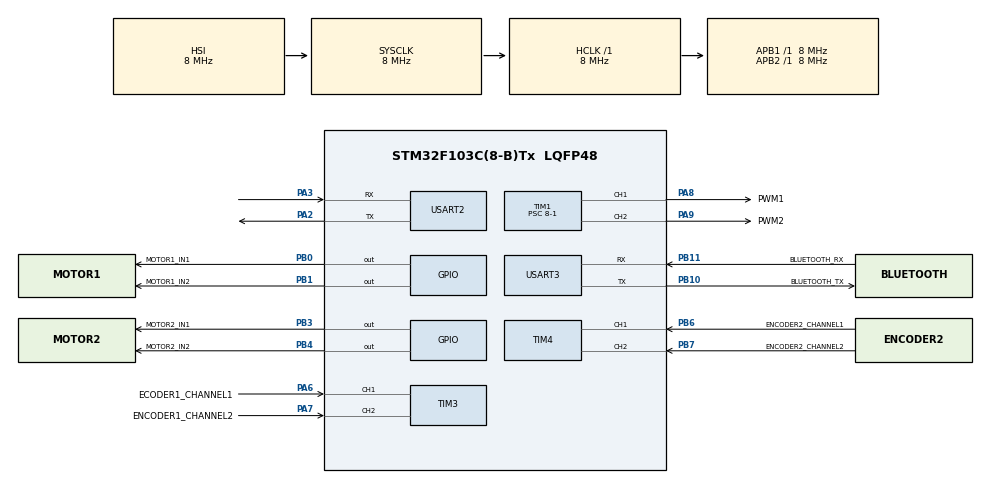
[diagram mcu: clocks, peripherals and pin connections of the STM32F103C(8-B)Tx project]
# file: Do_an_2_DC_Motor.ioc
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Mcu.Family=STM32F1
Mcu.Name=STM32F103C(8-B)Tx
Mcu.Package=LQFP48
NVIC.PriorityGroup=NVIC_PRIORITYGROUP_4
NVIC.TIM2_IRQn=true\:0\:0\:false\:false\:true\:true\:true\:true
NVIC.USART2_IRQn=true\:0\:0\:false\:false\:true\:true\:true\:true
NVIC.USART3_IRQn=true\:0\:0\:false\:false\:true\:true\:true\:true
PA13.Mode=Serial_Wire
PA13.Signal=SYS_JTMS-SWDIO
PA14.Mode=Serial_Wire
PA14.Signal=SYS_JTCK-SWCLK
PA2.Mode=Asynchronous
PA2.Signal=USART2_TX
PA3.Mode=Asynchronous
PA3.Signal=USART2_RX
PA6.GPIO_Label=ECODER1_CHANNEL1
PA6.Signal=S_TIM3_CH1
PA7.GPIO_Label=ENCODER1_CHANNEL2
PA7.Signal=S_TIM3_CH2
PA8.GPIO_Label=PWM1
PA8.Signal=S_TIM1_CH1
PA9.GPIO_Label=PWM2
PA9.Signal=S_TIM1_CH2
PB0.GPIO_Label=MOTOR1_IN1
PB0.Signal=GPIO_Output
PB1.GPIO_Label=MOTOR1_IN2
PB1.Signal=GPIO_Output
PB10.GPIO_Label=BLUETOOTH_TX
PB10.Mode=Asynchronous
PB10.Signal=USART3_TX
PB11.GPIO_Label=BLUETOOTH_RX
PB11.Mode=Asynchronous
PB11.Signal=USART3_RX
PB3.GPIO_Label=MOTOR2_IN1
PB3.Signal=GPIO_Output
PB4.GPIO_Label=MOTOR2_IN2
PB4.Signal=GPIO_Output
PB6.GPIO_Label=ENCODER2_CHANNEL1
PB6.Signal=S_TIM4_CH1
PB7.GPIO_Label=ENCODER2_CHANNEL2
PB7.Signal=S_TIM4_CH2
ProjectManager.HeapSize=0x200
ProjectManager.StackSize=0x400
ProjectManager.TargetToolchain=STM32CubeIDE
RCC.AHBFreq_Value=8000000
RCC.APB1Freq_Value=8000000
RCC.APB1TimFreq_Value=8000000
RCC.APB2Freq_Value=8000000
RCC.APB2TimFreq_Value=8000000
RCC.HCLKFreq_Value=8000000
RCC.SYSCLKFreq_VALUE=8000000
RCC.USBFreq_Value=8000000
SH.S_TIM1_CH1.0=TIM1_CH1,PWM Generation1 CH1
SH.S_TIM1_CH2.0=TIM1_CH2,PWM Generation2 CH2
SH.S_TIM3_CH1.0=TIM3_CH1,Encoder_Interface
SH.S_TIM3_CH2.0=TIM3_CH2,Encoder_Interface
SH.S_TIM4_CH1.0=TIM4_CH1,Encoder_Interface
SH.S_TIM4_CH2.0=TIM4_CH2,Encoder_Interface
TIM1.Channel-PWM\ Generation1\ CH1=TIM_CHANNEL_1
TIM1.Channel-PWM\ Generation2\ CH2=TIM_CHANNEL_2
TIM1.Period=1000-1
TIM1.Prescaler=8-1
TIM2.Period=2000-1
TIM2.Prescaler=80-1
TIM3.ClockDivision=TIM_CLOCKDIVISION_DIV4
TIM3.EncoderMode=TIM_ENCODERMODE_TI1
TIM3.IC1Filter=10
TIM3.IC2Filter=10
TIM4.ClockDivision=TIM_CLOCKDIVISION_DIV4
TIM4.EncoderMode=TIM_ENCODERMODE_TI1
TIM4.IC1Filter=10
TIM4.IC2Filter=10
USART2.VirtualMode=VM_ASYNC
USART3.VirtualMode=VM_ASYNC
VP_TIM2_VS_ClockSourceINT.Mode=Internal
board=custom

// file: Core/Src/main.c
/* USER CODE BEGIN Header */
/**
  ******************************************************************************
  * @file           : main.c
  * @brief          : Main program body
  ******************************************************************************
  * @attention
  *
  * Copyright (c) 2024 STMicroelectronics.
  * All rights reserved.
  *
  * This software is licensed under terms that can be found in the LICENSE file
  * in the root directory of this software component.
  * If no LICENSE file comes with this software, it is provided AS-IS.
  *
  ******************************************************************************
  */
/* USER CODE END Header */
#include "main.h"

/* USER CODE BEGIN Includes */
#include "PID.h"
#include "Motor_control.h"
#include "Robot_control.h"
#include "math.h"
#include <string.h>
#include <stdio.h>
/* USER CODE END Includes */

/* USER CODE BEGIN PTD */
#define BLUETOOTH_UART USART3
/* USER CODE END PTD */

TIM_HandleTypeDef htim1;
TIM_HandleTypeDef htim2;
TIM_HandleTypeDef htim3;
TIM_HandleTypeDef htim4;

UART_HandleTypeDef huart2;
UART_HandleTypeDef huart3;

/* USER CODE BEGIN PV */
Motor_measurement_command_typedef M1;
Motor_measurement_command_typedef M2;
PIDControllers_Typedef pidM1;
PIDControllers_Typedef pidM2;
Robot_model_typedef R;
uint8_t tx_buffer[100];
uint8_t rx_buffer[100];
uint8_t bluetooth_rx_buffer[5];
uint8_t bluetooth_tx_buffer[20];
uint8_t recieve_index;
uint8_t checkNan;
uint8_t i;
unsigned int rx_points;
/* USER CODE END PV */

void SystemClock_Config(void);
static void MX_GPIO_Init(void);
static void MX_TIM1_Init(void);
static void MX_TIM2_Init(void);
static void MX_TIM3_Init(void);
static void MX_TIM4_Init(void);
static void MX_USART2_UART_Init(void);
static void MX_USART3_UART_Init(void);

/* USER CODE BEGIN 0 */
void HAL_TIM_PeriodElapsedCallback(TIM_HandleTypeDef *htim)
{
	if(htim->Instance==TIM2)
	{
		pidMotorControl(&htim3, &M1, &pidM1, MOTOR_1, CONTROL_INVERT);
		pidMotorControl(&htim4, &M2, &pidM2, MOTOR_2, CONTROL_NORMAL);
		calculatePredictionValue(&R, M1.distance,M2.distance);
		if(isnanf(M1.rpm_measurement)==1||isnanf(M2.rpm_measurement==1))
			checkNan=1;
		else
			checkNan=0;
		i++;
		if(i==5)
		{
			sprintf((char *)tx_buffer,"%.4f/%.4f/%.4f/%.4f/%.4f/%d/%d/%d/%d/%.1f\n",M1.rpm_measurement,M2.rpm_measurement,R.x_prediction,R.y_prediction,R.theta_prediction,M1.current_cnt,M1.previous_cnt,M2.current_cnt,M2.previous_cnt,(float)checkNan);
			HAL_UART_Transmit(&huart2, tx_buffer, strlen(tx_buffer), 10);
			i=0;
		}

	}
}

void HAL_UART_RxCpltCallback(UART_HandleTypeDef *huart)
{
	if(huart->Instance==USART2)
	{
		if(*rx_buffer!=UPDATE_PREDICTION_CHARACTER)
		{
			PCFrameReceiveHandler(rx_buffer,tx_buffer,&R ,&M1,&M2);
			HAL_UART_Receive_IT(&huart2, rx_buffer, 1);
		}
		else
		{
			PCFrameReceiveHandler(rx_buffer,tx_buffer,&R ,&M1,&M2);
		}
	}
	else if(huart->Instance==BLUETOOTH_UART)
	{
		BluetoothFrameHandler(bluetooth_rx_buffer, &M1, &M2);
		HAL_UART_Receive_IT(&huart3,bluetooth_rx_buffer,1);
	}
}
/* USER CODE END 0 */

int main(void)
{

  /* MCU Configuration--------------------------------------------------------*/

  /* Reset of all peripherals, Initializes the Flash interface and the Systick. */
  HAL_Init();

  /* Configure the system clock */
  SystemClock_Config();

  /* Initialize all configured peripherals */
  MX_GPIO_Init();
  MX_TIM1_Init();
  MX_TIM2_Init();
  MX_TIM3_Init();
  MX_TIM4_Init();
  MX_USART2_UART_Init();
  MX_USART3_UART_Init();
  /* USER CODE BEGIN 2 */
  	M1.IN1=GPIO_PIN_0;
	M1.IN2=GPIO_PIN_1;
	M2.IN1=GPIO_PIN_3;
	M2.IN2=GPIO_PIN_4;
	pidControllersInit(&pidM1, 4, 8, 0.5, 0.02, 0.02,MAX_RPM);
	pidControllersInit(&pidM2, 4, 8, 0.5,0.02, 0.02, MAX_RPM);
	HAL_TIM_PWM_Start(&htim1, TIM_CHANNEL_1);
	HAL_TIM_PWM_Start(&htim1, TIM_CHANNEL_2);
	HAL_TIM_Base_Start_IT(&htim2);
	HAL_TIM_Encoder_Start(&htim3, TIM_CHANNEL_ALL);
	HAL_TIM_Encoder_Start(&htim4, TIM_CHANNEL_ALL);
	HAL_UART_Receive_IT(&huart2, rx_buffer+rx_points, 1);
	HAL_UART_Receive_IT(&huart3,bluetooth_rx_buffer,1);
  /* USER CODE END 2 */

  /* Infinite loop */
  while (1)
  {

  }
}

void SystemClock_Config(void)
{
  RCC_OscInitTypeDef RCC_OscInitStruct = {0};
  RCC_ClkInitTypeDef RCC_ClkInitStruct = {0};

  /** Initializes the RCC Oscillators according to the specified parameters
  * in the RCC_OscInitTypeDef structure.
  */
  RCC_OscInitStruct.OscillatorType = RCC_OSCILLATORTYPE_HSI;
  RCC_OscInitStruct.HSIState = RCC_HSI_ON;
  RCC_OscInitStruct.HSICalibrationValue = RCC_HSICALIBRATION_DEFAULT;
  RCC_OscInitStruct.PLL.PLLState = RCC_PLL_NONE;
  if (HAL_RCC_OscConfig(&RCC_OscInitStruct) != HAL_OK)
  {
    Error_Handler();
  }

  /** Initializes the CPU, AHB and APB buses clocks
  */
  RCC_ClkInitStruct.ClockType = RCC_CLOCKTYPE_HCLK|RCC_CLOCKTYPE_SYSCLK
                              |RCC_CLOCKTYPE_PCLK1|RCC_CLOCKTYPE_PCLK2;
  RCC_ClkInitStruct.SYSCLKSource = RCC_SYSCLKSOURCE_HSI;
  RCC_ClkInitStruct.AHBCLKDivider = RCC_SYSCLK_DIV1;
  RCC_ClkInitStruct.APB1CLKDivider = RCC_HCLK_DIV1;
  RCC_ClkInitStruct.APB2CLKDivider = RCC_HCLK_DIV1;

  if (HAL_RCC_ClockConfig(&RCC_ClkInitStruct, FLASH_LATENCY_0) != HAL_OK)
  {
    Error_Handler();
  }
}

static void MX_TIM1_Init(void)
{

  TIM_MasterConfigTypeDef sMasterConfig = {0};
  TIM_OC_InitTypeDef sConfigOC = {0};
  TIM_BreakDeadTimeConfigTypeDef sBreakDeadTimeConfig = {0};

  htim1.Instance = TIM1;
  htim1.Init.Prescaler = 8-1;
  htim1.Init.CounterMode = TIM_COUNTERMODE_UP;
  htim1.Init.Period = 1000-1;
  htim1.Init.ClockDivision = TIM_CLOCKDIVISION_DIV1;
  htim1.Init.RepetitionCounter = 0;
  htim1.Init.AutoReloadPreload = TIM_AUTORELOAD_PRELOAD_DISABLE;
  if (HAL_TIM_PWM_Init(&htim1) != HAL_OK)
  {
    Error_Handler();
  }
  sMasterConfig.MasterOutputTrigger = TIM_TRGO_RESET;
  sMasterConfig.MasterSlaveMode = TIM_MASTERSLAVEMODE_DISABLE;
  if (HAL_TIMEx_MasterConfigSynchronization(&htim1, &sMasterConfig) != HAL_OK)
  {
    Error_Handler();
  }
  sConfigOC.OCMode = TIM_OCMODE_PWM1;
  sConfigOC.Pulse = 0;
  sConfigOC.OCPolarity = TIM_OCPOLARITY_HIGH;
  sConfigOC.OCNPolarity = TIM_OCNPOLARITY_HIGH;
  sConfigOC.OCFastMode = TIM_OCFAST_DISABLE;
  sConfigOC.OCIdleState = TIM_OCIDLESTATE_RESET;
  sConfigOC.OCNIdleState = TIM_OCNIDLESTATE_RESET;
  if (HAL_TIM_PWM_ConfigChannel(&htim1, &sConfigOC, TIM_CHANNEL_1) != HAL_OK)
  {
    Error_Handler();
  }
  if (HAL_TIM_PWM_ConfigChannel(&htim1, &sConfigOC, TIM_CHANNEL_2) != HAL_OK)
  {
    Error_Handler();
  }
  sBreakDeadTimeConfig.OffStateRunMode = TIM_OSSR_DISABLE;
  sBreakDeadTimeConfig.OffStateIDLEMode = TIM_OSSI_DISABLE;
  sBreakDeadTimeConfig.LockLevel = TIM_LOCKLEVEL_OFF;
  sBreakDeadTimeConfig.DeadTime = 0;
  sBreakDeadTimeConfig.BreakState = TIM_BREAK_DISABLE;
  sBreakDeadTimeConfig.BreakPolarity = TIM_BREAKPOLARITY_HIGH;
  sBreakDeadTimeConfig.AutomaticOutput = TIM_AUTOMATICOUTPUT_DISABLE;
  if (HAL_TIMEx_ConfigBreakDeadTime(&htim1, &sBreakDeadTimeConfig) != HAL_OK)
  {
    Error_Handler();
  }
  HAL_TIM_MspPostInit(&htim1);

}

static void MX_TIM2_Init(void)
{

  TIM_ClockConfigTypeDef sClockSourceConfig = {0};
  TIM_MasterConfigTypeDef sMasterConfig = {0};

  htim2.Instance = TIM2;
  htim2.Init.Prescaler = 80-1;
  htim2.Init.CounterMode = TIM_COUNTERMODE_UP;
  htim2.Init.Period = 2000-1;
  htim2.Init.ClockDivision = TIM_CLOCKDIVISION_DIV1;
  htim2.Init.AutoReloadPreload = TIM_AUTORELOAD_PRELOAD_DISABLE;
  if (HAL_TIM_Base_Init(&htim2) != HAL_OK)
  {
    Error_Handler();
  }
  sClockSourceConfig.ClockSource = TIM_CLOCKSOURCE_INTERNAL;
  if (HAL_TIM_ConfigClockSource(&htim2, &sClockSourceConfig) != HAL_OK)
  {
    Error_Handler();
  }
  sMasterConfig.MasterOutputTrigger = TIM_TRGO_RESET;
  sMasterConfig.MasterSlaveMode = TIM_MASTERSLAVEMODE_DISABLE;
  if (HAL_TIMEx_MasterConfigSynchronization(&htim2, &sMasterConfig) != HAL_OK)
  {
    Error_Handler();
  }

}

static void MX_TIM3_Init(void)
{

  TIM_Encoder_InitTypeDef sConfig = {0};
  TIM_MasterConfigTypeDef sMasterConfig = {0};

  htim3.Instance = TIM3;
  htim3.Init.Prescaler = 0;
  htim3.Init.CounterMode = TIM_COUNTERMODE_UP;
  htim3.Init.Period = 65535;
  htim3.Init.ClockDivision = TIM_CLOCKDIVISION_DIV4;
  htim3.Init.AutoReloadPreload = TIM_AUTORELOAD_PRELOAD_DISABLE;
  sConfig.EncoderMode = TIM_ENCODERMODE_TI1;
  sConfig.IC1Polarity = TIM_ICPOLARITY_RISING;
  sConfig.IC1Selection = TIM_ICSELECTION_DIRECTTI;
  sConfig.IC1Prescaler = TIM_ICPSC_DIV1;
  sConfig.IC1Filter = 10;
  sConfig.IC2Polarity = TIM_ICPOLARITY_RISING;
  sConfig.IC2Selection = TIM_ICSELECTION_DIRECTTI;
  sConfig.IC2Prescaler = TIM_ICPSC_DIV1;
  sConfig.IC2Filter = 10;
  if (HAL_TIM_Encoder_Init(&htim3, &sConfig) != HAL_OK)
  {
    Error_Handler();
  }
  sMasterConfig.MasterOutputTrigger = TIM_TRGO_RESET;
  sMasterConfig.MasterSlaveMode = TIM_MASTERSLAVEMODE_DISABLE;
  if (HAL_TIMEx_MasterConfigSynchronization(&htim3, &sMasterConfig) != HAL_OK)
  {
    Error_Handler();
  }

}

static void MX_TIM4_Init(void)
{

  TIM_Encoder_InitTypeDef sConfig = {0};
  TIM_MasterConfigTypeDef sMasterConfig = {0};

  htim4.Instance = TIM4;
  htim4.Init.Prescaler = 0;
  htim4.Init.CounterMode = TIM_COUNTERMODE_UP;
  htim4.Init.Period = 65535;
  htim4.Init.ClockDivision = TIM_CLOCKDIVISION_DIV4;
  htim4.Init.AutoReloadPreload = TIM_AUTORELOAD_PRELOAD_DISABLE;
  sConfig.EncoderMode = TIM_ENCODERMODE_TI1;
  sConfig.IC1Polarity = TIM_ICPOLARITY_RISING;
  sConfig.IC1Selection = TIM_ICSELECTION_DIRECTTI;
  sConfig.IC1Prescaler = TIM_ICPSC_DIV1;
  sConfig.IC1Filter = 10;
  sConfig.IC2Polarity = TIM_ICPOLARITY_RISING;
  sConfig.IC2Selection = TIM_ICSELECTION_DIRECTTI;
  sConfig.IC2Prescaler = TIM_ICPSC_DIV1;
  sConfig.IC2Filter = 10;
  if (HAL_TIM_Encoder_Init(&htim4, &sConfig) != HAL_OK)
  {
    Error_Handler();
  }
  sMasterConfig.MasterOutputTrigger = TIM_TRGO_RESET;
  sMasterConfig.MasterSlaveMode = TIM_MASTERSLAVEMODE_DISABLE;
  if (HAL_TIMEx_MasterConfigSynchronization(&htim4, &sMasterConfig) != HAL_OK)
  {
    Error_Handler();
  }

}

static void MX_USART2_UART_Init(void)
{

  huart2.Instance = USART2;
  huart2.Init.BaudRate = 115200;
  huart2.Init.WordLength = UART_WORDLENGTH_8B;
  huart2.Init.StopBits = UART_STOPBITS_1;
  huart2.Init.Parity = UART_PARITY_NONE;
  huart2.Init.Mode = UART_MODE_TX_RX;
  huart2.Init.HwFlowCtl = UART_HWCONTROL_NONE;
  huart2.Init.OverSampling = UART_OVERSAMPLING_16;
  if (HAL_UART_Init(&huart2) != HAL_OK)
  {
    Error_Handler();
  }

}

static void MX_USART3_UART_Init(void)
{

  huart3.Instance = USART3;
  huart3.Init.BaudRate = 115200;
  huart3.Init.WordLength = UART_WORDLENGTH_8B;
  huart3.Init.StopBits = UART_STOPBITS_1;
  huart3.Init.Parity = UART_PARITY_NONE;
  huart3.Init.Mode = UART_MODE_TX_RX;
  huart3.Init.HwFlowCtl = UART_HWCONTROL_NONE;
  huart3.Init.OverSampling = UART_OVERSAMPLING_16;
  if (HAL_UART_Init(&huart3) != HAL_OK)
  {
    Error_Handler();
  }

}

static void MX_GPIO_Init(void)
{
  GPIO_InitTypeDef GPIO_InitStruct = {0};

  /* GPIO Ports Clock Enable */
  __HAL_RCC_GPIOA_CLK_ENABLE();
  __HAL_RCC_GPIOB_CLK_ENABLE();

  /*Configure GPIO pin Output Level */
  HAL_GPIO_WritePin(GPIOB, MOTOR1_IN1_Pin|MOTOR1_IN2_Pin|MOTOR2_IN1_Pin|MOTOR2_IN2_Pin, GPIO_PIN_RESET);

  /*Configure GPIO pins : MOTOR1_IN1_Pin MOTOR1_IN2_Pin MOTOR2_IN1_Pin MOTOR2_IN2_Pin */
  GPIO_InitStruct.Pin = MOTOR1_IN1_Pin|MOTOR1_IN2_Pin|MOTOR2_IN1_Pin|MOTOR2_IN2_Pin;
  GPIO_InitStruct.Mode = GPIO_MODE_OUTPUT_PP;
  GPIO_InitStruct.Pull = GPIO_NOPULL;
  GPIO_InitStruct.Speed = GPIO_SPEED_FREQ_LOW;
  HAL_GPIO_Init(GPIOB, &GPIO_InitStruct);

}

void Error_Handler(void)
{
  __disable_irq();
  while (1)
  {
  }
}
